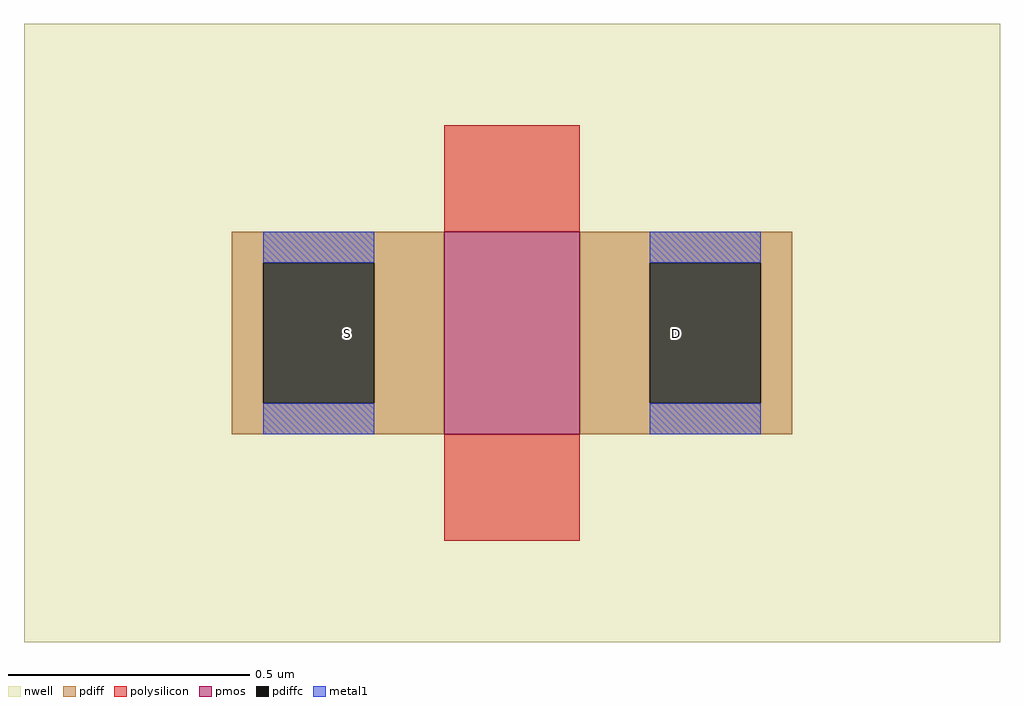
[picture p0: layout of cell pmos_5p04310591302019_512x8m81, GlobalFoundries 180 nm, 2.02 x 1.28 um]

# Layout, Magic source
magic
tech gf180mcuD
magscale 1 10
<< nwell >>
rect -174 -86 230 170
<< pmos >>
rect 0 0 56 84
<< pdiff >>
rect -88 71 0 84
rect -88 13 -75 71
rect -29 13 0 71
rect -88 0 0 13
rect 56 71 144 84
rect 56 13 85 71
rect 131 13 144 71
rect 56 0 144 13
<< pdiffc >>
rect -75 13 -29 71
rect 85 13 131 71
<< polysilicon >>
rect 0 84 56 128
rect 0 -44 56 0
<< metal1 >>
rect -75 71 -29 84
rect -75 0 -29 13
rect 85 71 131 84
rect 85 0 131 13
<< labels >>
flabel pdiffc -40 42 -40 42 0 FreeSans 186 0 0 0 S
flabel pdiffc 96 42 96 42 0 FreeSans 186 0 0 0 D
<< end >>
